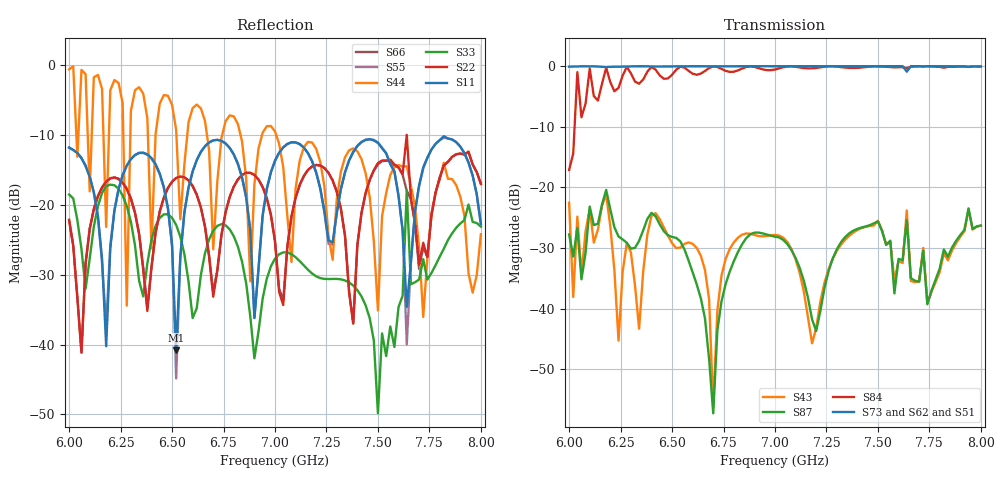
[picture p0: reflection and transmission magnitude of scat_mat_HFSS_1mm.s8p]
! Touchstone file exported from HFSS 2020.1.0
!  File:  D:/Users/rblandin/Documents/Ansoft/scatterer_in_waveguide.aedt
!  Generated:  5:07:13  janv. 16, 2025
!  Design:  HFSSDesign1
!  Project:  scatterer_in_waveguide
!  Setup:  scatmat
!  Solution:  Sweep
! Variables:
!  $height = 1mm
!  $pos_x = 100mm
!  $pos_x_1 = 28.772922mm
!  $pos_x_2 = 55.98679mm
!  $pos_x_3 = 44.27246mm
!  $pos_y = 25mm
!  $pos_y_1 = 43.348048mm
!  $pos_y_2 = 48.8323mm
!  $pos_y_3 = 236.06804mm
!  $radius = 3.1mm
# GHZ S MA R 50.000000
! Terminal data exported
! Port[1] = 1:1
! Port[2] = 1:2
! Port[3] = 1:3
! Port[4] = 1:4
! Port[5] = 2:1
! Port[6] = 2:2
! Port[7] = 2:3
! Port[8] = 2:4
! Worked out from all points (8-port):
!   101 points, 6 GHz to 8 GHz, reference per port
!   strongest paths, dB at 6 GHz, 6.5 GHz, 7 GHz, 7.5 GHz, 8 GHz:
!     S73: -0.1, -0.1, -0.1, -0.1, -0.1
!     S62: -0.1, -0.1, 0.0, -0.2, -0.1
!     S51: -0.3, -0.1, -0.2, -0.4, -0.1
!     S84: -17.1, -1.5, -0.6, -0.1, -0.1
!     S87: -27.8, -28.2, -28.1, -25.6, -26.3
!     S43: -22.5, -29.2, -27.8, -25.5, -26.3
!   lowest |S11| = -40.8 dB at 6.52 GHz (marker M1), VSWR 1.02
!   |S11| at or under -10 dB: start of sweep to end of sweep
